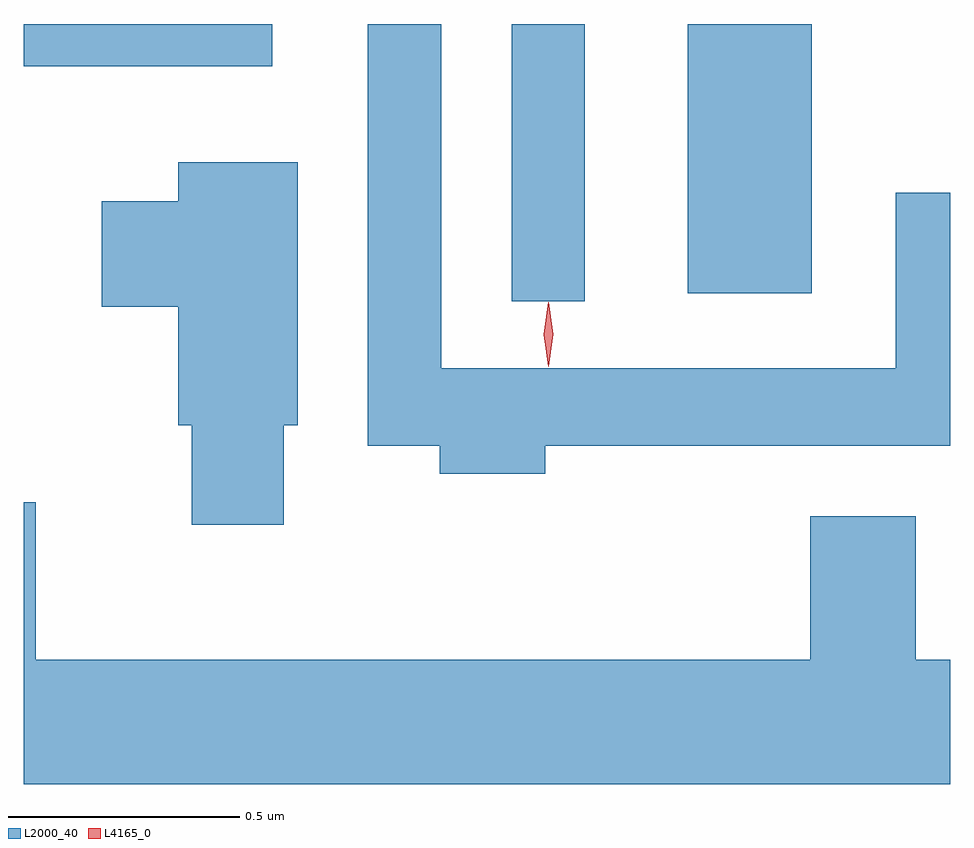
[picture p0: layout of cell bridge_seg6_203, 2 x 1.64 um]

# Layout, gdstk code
import gdstk
lib = gdstk.Library(unit=1e-6, precision=1e-09)
def R(c, l, rs):  # rectangles x0, y0, x1, y1
    for r in rs: c.add(gdstk.rectangle(r[:2], r[2:], *l))
def P(c, l, *ps):  # polygons
    for p in ps: c.add(gdstk.Polygon(p, *l))
L2000_40 = (2000, 40)
L4165_0 = (4165, 0)

bridge_seg6_203 = lib.new_cell('bridge_seg6_203')
R(bridge_seg6_203, L2000_40, [(1046.266,1597.698,1046.424,1598.297), (1046.646,1597.716,1046.914,1598.297), (1045.213,1598.206,1045.749,1598.297)])
P(bridge_seg6_203, L2000_40, [(1046.339,1597.386),(1047.213,1597.386),(1047.213,1597.933),(1047.096,1597.933),(1047.096,1597.554),(1046.114,1597.554),(1046.114,1598.297),(1045.956,1598.297),(1045.956,1597.386),(1046.111,1597.386),(1046.111,1597.326),(1046.339,1597.326)],
  [(1045.774,1597.431),(1045.804,1597.431),(1045.804,1597.999),(1045.546,1597.999),(1045.546,1597.914),(1045.381,1597.914),(1045.381,1597.686),(1045.546,1597.686),(1045.546,1597.431),(1045.576,1597.431),(1045.576,1597.216),(1045.774,1597.216)],
  [(1047.213,1596.924),(1047.139,1596.924),(1047.139,1597.234),(1046.911,1597.234),(1046.911,1596.924),(1045.239,1596.924),(1045.239,1597.264),(1045.213,1597.264),(1045.213,1596.656),(1047.213,1596.656)])
P(bridge_seg6_203, L4165_0, [(1046.345,1597.559),(1046.345,1597.56),(1046.335,1597.626),(1046.345,1597.692),(1046.345,1597.693),(1046.346,1597.692),(1046.355,1597.626),(1046.346,1597.56)],
  [(1046.346,1597.557),(1046.345,1597.558),(1046.335,1597.627),(1046.345,1597.696),(1046.346,1597.696),(1046.346,1597.696),(1046.356,1597.627),(1046.346,1597.558)])

lib.write_gds('bridge_seg6_203.gds')
